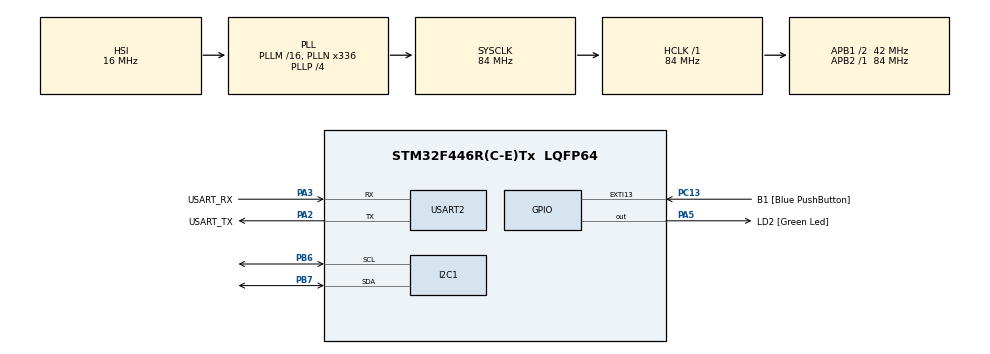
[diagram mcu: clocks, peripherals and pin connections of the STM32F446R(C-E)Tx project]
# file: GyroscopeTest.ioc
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Mcu.Family=STM32F4
Mcu.Name=STM32F446R(C-E)Tx
Mcu.Package=LQFP64
NVIC.PriorityGroup=NVIC_PRIORITYGROUP_0
PA13.GPIO_Label=TMS
PA13.Mode=Trace_Asynchronous_SW
PA13.Signal=SYS_JTMS-SWDIO
PA14.GPIO_Label=TCK
PA14.Mode=Trace_Asynchronous_SW
PA14.Signal=SYS_JTCK-SWCLK
PA2.GPIO_Label=USART_TX
PA2.Mode=Asynchronous
PA2.Signal=USART2_TX
PA3.GPIO_Label=USART_RX
PA3.Mode=Asynchronous
PA3.Signal=USART2_RX
PA5.GPIO_Label=LD2 [Green Led]
PA5.Signal=GPIO_Output
PB3.GPIO_Label=SWO
PB3.Mode=Trace_Asynchronous_SW
PB3.Signal=SYS_JTDO-SWO
PB6.Mode=I2C
PB6.Signal=I2C1_SCL
PB7.Mode=I2C
PB7.Signal=I2C1_SDA
PC13.GPIO_Label=B1 [Blue PushButton]
PC13.GPIO_ModeDefaultEXTI=GPIO_MODE_IT_FALLING
PC13.Signal=GPXTI13
PC14-OSC32_IN.Mode=LSE-External-Oscillator
PC14-OSC32_IN.Signal=RCC_OSC32_IN
PC15-OSC32_OUT.Mode=LSE-External-Oscillator
PC15-OSC32_OUT.Signal=RCC_OSC32_OUT
PH0-OSC_IN.Mode=HSE-External-Oscillator
PH0-OSC_IN.Signal=RCC_OSC_IN
PH1-OSC_OUT.Mode=HSE-External-Oscillator
PH1-OSC_OUT.Signal=RCC_OSC_OUT
ProjectManager.HeapSize=0x200
ProjectManager.StackSize=0x400
ProjectManager.TargetToolchain=STM32CubeIDE
RCC.48MHZClocksFreq_Value=84000000
RCC.AHBFreq_Value=84000000
RCC.APB1CLKDivider=RCC_HCLK_DIV2
RCC.APB1Freq_Value=42000000
RCC.APB1TimFreq_Value=84000000
RCC.APB2Freq_Value=84000000
RCC.APB2TimFreq_Value=84000000
RCC.CortexFreq_Value=84000000
RCC.FLatency-AdvancedSettings=FLASH_LATENCY_2
RCC.HCLKFreq_Value=84000000
RCC.HSE_VALUE=8000000
RCC.HSI_VALUE=16000000
RCC.PLLN=336
RCC.PLLP=RCC_PLLP_DIV4
RCC.SYSCLKFreq_VALUE=84000000
RCC.SYSCLKSource=RCC_SYSCLKSOURCE_PLLCLK
RCC.USBFreq_Value=168000000
RCC.VCOOutputFreq_Value=336000000
USART2.VirtualMode=VM_ASYNC
board=NUCLEO-F446RE

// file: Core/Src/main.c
/* USER CODE BEGIN Header */
/**
  ******************************************************************************
  * @file           : main.c
  * @brief          : Main program body
  ******************************************************************************
  * @attention
  *
  * Copyright (c) 2026 STMicroelectronics.
  * All rights reserved.
  *
  * This software is licensed under terms that can be found in the LICENSE file
  * in the root directory of this software component.
  * If no LICENSE file comes with this software, it is provided AS-IS.
  *
  ******************************************************************************
  */
/* USER CODE END Header */
#include "main.h"

/* USER CODE BEGIN Includes */
#include <math.h>
/* USER CODE END Includes */

/* USER CODE BEGIN PD */
#define PI 3.14159265358979323846f
/* USER CODE END PD */

I2C_HandleTypeDef hi2c1;

UART_HandleTypeDef huart2;

void SystemClock_Config(void);
static void MX_GPIO_Init(void);
static void MX_USART2_UART_Init(void);
static void MX_I2C1_Init(void);

/* USER CODE BEGIN 0 */
int _write(int file, char *ptr, int len)
 {
	 int DataIdx;
	 for (DataIdx = 0; DataIdx < len; DataIdx++)
	 {
		 ITM_SendChar(*ptr++);
	 }
	 return len;
 }

/* USER CODE END 0 */

int main(void)
{

  /* MCU Configuration--------------------------------------------------------*/

  /* Reset of all peripherals, Initializes the Flash interface and the Systick. */
  HAL_Init();

  /* Configure the system clock */
  SystemClock_Config();

  /* Initialize all configured peripherals */
  MX_GPIO_Init();
  MX_USART2_UART_Init();
  MX_I2C1_Init();
  /* USER CODE BEGIN 2 */
  //I2C Write --> 0
  //I2C Read --> 1

  //CONFIG

  //Check if gyro is connecting
  HAL_StatusTypeDef ret = HAL_I2C_IsDeviceReady(&hi2c1, (0x68 << 1) + 0, 1, 100);
  if (ret == HAL_OK){
	  printf("The device is ready \n");
  }else{
	  printf("U fucked gng \n");
  }

  //Config gyros range
  uint8_t temp_data = 0b00001000;
  ret = HAL_I2C_Mem_Write(&hi2c1, (0x68 << 1) + 0, 27, 1, &temp_data, 1, 100);

  //Config acc range
  temp_data = 0b00000000;
  ret = HAL_I2C_Mem_Write(&hi2c1, (0x68 << 1) + 0, 28, 1, &temp_data, 1, 100);

  //Remove device from sleep mode and config temp sensor
  temp_data = 0;
  ret = HAL_I2C_Mem_Write(&hi2c1, (0x68 << 1) + 0, 107, 1, &temp_data, 1, 100);

  /* USER CODE END 2 */

  /* Infinite loop */
  /* USER CODE BEGIN WHILE */
  uint8_t Z_data[2];
  int16_t z_raw;
  float az_g;
  float tilt_deg;
  float relative_tilt;
  float tilt_offset;

  uint8_t Temp_Data[2];
  int16_t temp_raw;
  float temp_deg;

  HAL_I2C_Mem_Read(&hi2c1, (0x68 << 1), 63, 1, Z_data, 2, 100);
  z_raw = ((int16_t)Z_data[0] << 8) | Z_data[1];
  az_g = z_raw / 16384.0f;

  // Clamp just in case
  if (az_g >  1.0f) az_g =  1.0f;
  if (az_g < -1.0f) az_g = -1.0f;

  tilt_offset = acosf(az_g) * (180.0f / PI);

  printf("Tilt offset = %.2f deg\n", tilt_offset);
  while (1)
  {
    /* USER CODE END WHILE */

    /* USER CODE BEGIN 3 */
	  HAL_I2C_Mem_Read(&hi2c1, (0x68 << 1) + 1, 63, 1, Z_data, 2, 100);
	  z_raw = (((int16_t)Z_data[0] << 8) + Z_data[1]);

	  az_g = z_raw / 16384.0f;

	  // clamp to avoid NaN
	  if (az_g >  1.0f) az_g =  1.0f;
	  if (az_g < -1.0f) az_g = -1.0f;

	  tilt_deg = acosf(az_g) * (180.0f / PI);

	  // Subtract initial offset
	  relative_tilt = fabsf(tilt_deg - tilt_offset);

	  printf("Relative tilt = %.2f deg\n", relative_tilt);

	  //Temp_DATA
	  HAL_I2C_Mem_Read(&hi2c1, (0x68 << 1) + 1, 65, 1, Temp_Data, 2, 100);
	  temp_raw = (((int16_t)Temp_Data[0] << 8) + Temp_Data[1]);

	  temp_deg = (temp_raw/340) + 36.53;
	  printf("Temp = %.2f C\n", temp_deg);

	  HAL_Delay(750);
  }
  /* USER CODE END 3 */
}

void SystemClock_Config(void)
{
  RCC_OscInitTypeDef RCC_OscInitStruct = {0};
  RCC_ClkInitTypeDef RCC_ClkInitStruct = {0};

  /** Configure the main internal regulator output voltage
  */
  __HAL_RCC_PWR_CLK_ENABLE();
  __HAL_PWR_VOLTAGESCALING_CONFIG(PWR_REGULATOR_VOLTAGE_SCALE3);

  /** Initializes the RCC Oscillators according to the specified parameters
  * in the RCC_OscInitTypeDef structure.
  */
  RCC_OscInitStruct.OscillatorType = RCC_OSCILLATORTYPE_HSI;
  RCC_OscInitStruct.HSIState = RCC_HSI_ON;
  RCC_OscInitStruct.HSICalibrationValue = RCC_HSICALIBRATION_DEFAULT;
  RCC_OscInitStruct.PLL.PLLState = RCC_PLL_ON;
  RCC_OscInitStruct.PLL.PLLSource = RCC_PLLSOURCE_HSI;
  RCC_OscInitStruct.PLL.PLLM = 16;
  RCC_OscInitStruct.PLL.PLLN = 336;
  RCC_OscInitStruct.PLL.PLLP = RCC_PLLP_DIV4;
  RCC_OscInitStruct.PLL.PLLQ = 2;
  RCC_OscInitStruct.PLL.PLLR = 2;
  if (HAL_RCC_OscConfig(&RCC_OscInitStruct) != HAL_OK)
  {
    Error_Handler();
  }

  /** Initializes the CPU, AHB and APB buses clocks
  */
  RCC_ClkInitStruct.ClockType = RCC_CLOCKTYPE_HCLK|RCC_CLOCKTYPE_SYSCLK
                              |RCC_CLOCKTYPE_PCLK1|RCC_CLOCKTYPE_PCLK2;
  RCC_ClkInitStruct.SYSCLKSource = RCC_SYSCLKSOURCE_PLLCLK;
  RCC_ClkInitStruct.AHBCLKDivider = RCC_SYSCLK_DIV1;
  RCC_ClkInitStruct.APB1CLKDivider = RCC_HCLK_DIV2;
  RCC_ClkInitStruct.APB2CLKDivider = RCC_HCLK_DIV1;

  if (HAL_RCC_ClockConfig(&RCC_ClkInitStruct, FLASH_LATENCY_2) != HAL_OK)
  {
    Error_Handler();
  }
}

static void MX_I2C1_Init(void)
{

  hi2c1.Instance = I2C1;
  hi2c1.Init.ClockSpeed = 100000;
  hi2c1.Init.DutyCycle = I2C_DUTYCYCLE_2;
  hi2c1.Init.OwnAddress1 = 0;
  hi2c1.Init.AddressingMode = I2C_ADDRESSINGMODE_7BIT;
  hi2c1.Init.DualAddressMode = I2C_DUALADDRESS_DISABLE;
  hi2c1.Init.OwnAddress2 = 0;
  hi2c1.Init.GeneralCallMode = I2C_GENERALCALL_DISABLE;
  hi2c1.Init.NoStretchMode = I2C_NOSTRETCH_DISABLE;
  if (HAL_I2C_Init(&hi2c1) != HAL_OK)
  {
    Error_Handler();
  }

}

static void MX_USART2_UART_Init(void)
{

  huart2.Instance = USART2;
  huart2.Init.BaudRate = 115200;
  huart2.Init.WordLength = UART_WORDLENGTH_8B;
  huart2.Init.StopBits = UART_STOPBITS_1;
  huart2.Init.Parity = UART_PARITY_NONE;
  huart2.Init.Mode = UART_MODE_TX_RX;
  huart2.Init.HwFlowCtl = UART_HWCONTROL_NONE;
  huart2.Init.OverSampling = UART_OVERSAMPLING_16;
  if (HAL_UART_Init(&huart2) != HAL_OK)
  {
    Error_Handler();
  }

}

static void MX_GPIO_Init(void)
{
  GPIO_InitTypeDef GPIO_InitStruct = {0};

  /* GPIO Ports Clock Enable */
  __HAL_RCC_GPIOC_CLK_ENABLE();
  __HAL_RCC_GPIOH_CLK_ENABLE();
  __HAL_RCC_GPIOA_CLK_ENABLE();
  __HAL_RCC_GPIOB_CLK_ENABLE();

  /*Configure GPIO pin Output Level */
  HAL_GPIO_WritePin(LD2_GPIO_Port, LD2_Pin, GPIO_PIN_RESET);

  /*Configure GPIO pin : B1_Pin */
  GPIO_InitStruct.Pin = B1_Pin;
  GPIO_InitStruct.Mode = GPIO_MODE_IT_FALLING;
  GPIO_InitStruct.Pull = GPIO_NOPULL;
  HAL_GPIO_Init(B1_GPIO_Port, &GPIO_InitStruct);

  /*Configure GPIO pin : LD2_Pin */
  GPIO_InitStruct.Pin = LD2_Pin;
  GPIO_InitStruct.Mode = GPIO_MODE_OUTPUT_PP;
  GPIO_InitStruct.Pull = GPIO_NOPULL;
  GPIO_InitStruct.Speed = GPIO_SPEED_FREQ_LOW;
  HAL_GPIO_Init(LD2_GPIO_Port, &GPIO_InitStruct);

}

void Error_Handler(void)
{
  __disable_irq();
  while (1)
  {
  }
}
